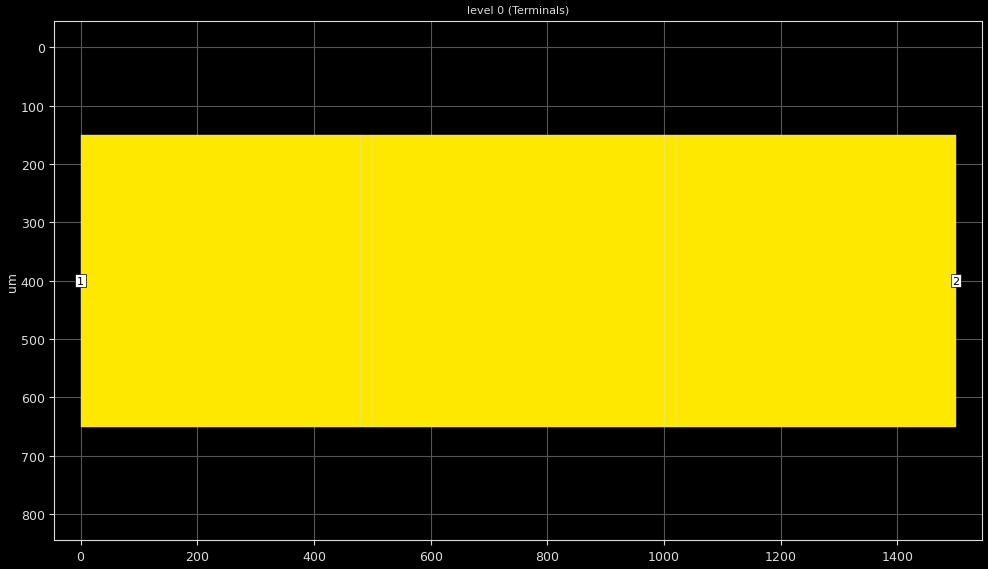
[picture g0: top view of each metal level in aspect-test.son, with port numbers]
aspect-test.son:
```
FTYP SONPROJ 19 ! Sonnet Project File
VER 18.01
HEADER
LIC antikernel2.1.51012 90e2ba8817c1 havequick azonenberg Level3Gold
DAT 09/05/2021 13:10:53
BUILT_BY_CREATED xgeom 18.01 08/19/2021 15:16:25
BUILT_BY_SAVED sonnet 18.01
MDATE 09/05/2021 13:10:39
HDATE 09/05/2021 13:10:39
END HEADER
DIM
ANG DEG
CAP PF
CON /OH
FREQ GHZ
IND NH
LNG UM
RES OH
END DIM
CONTROL
VARSWP
OPTIONS  -dj
SPEED 0
CACHE_ABS 2
Q_ACC N
END CONTROL
GEO
SYM
DRP1 LEFT LINK
POLY 194 1
0
DRP1 RIGHT LINK
POLY 198 1
0
TMET "Free Space" 0 FREESPACE 376.7303136 0 0 0
BMET "Free Space" 0 FREESPACE 376.7303136 0 0 0
MET "Copper 15um" 1 NOR 58000000 0.5 15 
MET "Resistor 110 ohm/sq" 2 RES 110
BOX 2 1500 800 300 160 20 0
      10000 1 1 0 0 0 0 "Air"
      500 9.9 1 0.0001 0 0 0 "Alumina (99.5%)"
      10000 1 1 0 0 0 0 "Air"
TECHLAY METAL Terminals <UNSPECIFIED> -2 -65534 
0 0 0 N 123 1 1 100 100 0 0 0 Y
END
END
TECHLAY METAL Resistor <UNSPECIFIED> -3 -65534 
0 0 1 N 127 1 1 100 100 0 0 0 Y
END
END
VALVAR RESWIDTH LNG 500 "Dim. Param."
VALVAR TWIDTH LNG 500 "Dim. Param."
VALVAR TWIDTH2 LNG "TWIDTH" "Dim. Param."
LORGN 0 800 U 
POR1 BOX
POLY 194 1
2
1 50 0 0 0 0 400 
POR1 BOX
POLY 198 1
2
2 50 0 0 0 1500 400 
NUM 5
0 5 0 N 194 1 1 100 100 0 0 0 Y
TLAYNAM Terminals INH
480 650
480 150
0 150
0 650
480 650
END
0 5 0 N 151 1 1 100 100 0 0 0 Y
TLAYNAM Terminals INH
1000 150
1020 150
1020 650
1000 650
1000 150
END
0 5 0 N 152 1 1 100 100 0 0 0 Y
TLAYNAM Terminals INH
480 150
500 150
500 650
480 650
480 150
END
0 5 0 N 198 1 1 100 100 0 0 0 Y
TLAYNAM Terminals INH
1020 150
1020 650
1500 650
1500 150
1020 150
END
0 5 1 N 136 1 1 100 100 0 0 0 Y
TLAYNAM Resistor INH
500 150
1000 150
1000 650
500 650
500 150
END
END GEO
OPT
MAX 100
END OPT
VARSWP
SWPVARS ON
ENABLED Y
FREQ Y AY ABS_ENTRY 0.01 40.0 -1 300 
VAR RESWIDTH Y 100.0 500.0 100.0
VAR TWIDTH Y 100.0 500.0 100.0
END
END VARSWP
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```
